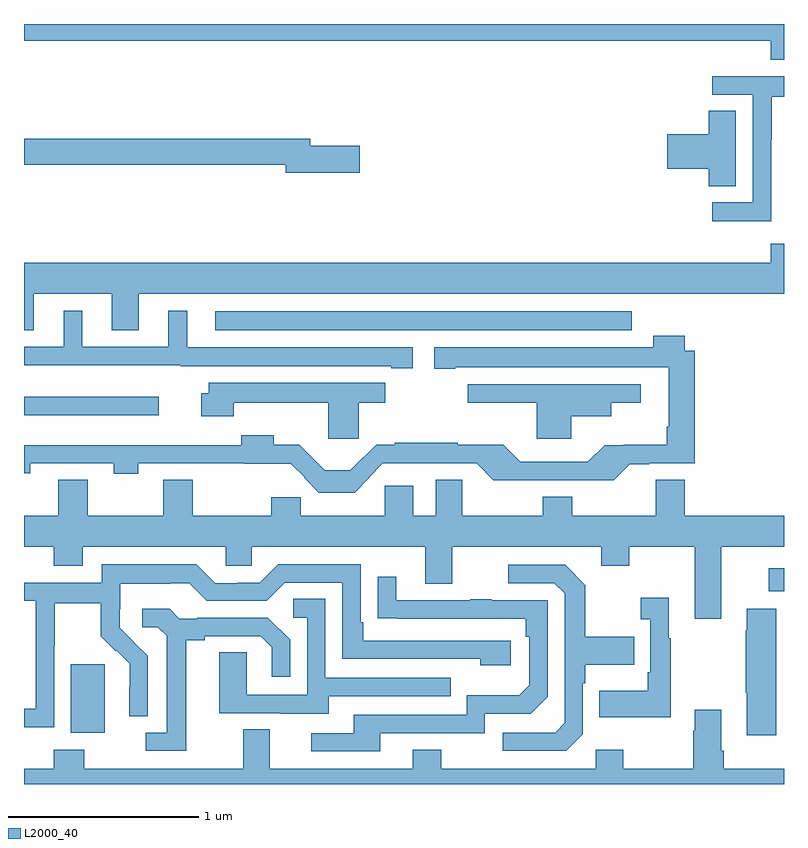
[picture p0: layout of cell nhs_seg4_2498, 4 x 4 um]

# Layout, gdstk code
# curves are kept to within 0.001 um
import gdstk
lib = gdstk.Library(unit=1e-6, precision=1e-09)
def R(c, l, rs):  # rectangles x0, y0, x1, y1
    for r in rs: c.add(gdstk.rectangle(r[:2], r[2:], *l))
def P(c, l, *ps):  # polygons
    for p in ps: c.add(gdstk.Polygon(p, *l))
L2000_40 = (2000, 40)

nhs_seg4_2498 = lib.new_cell('nhs_seg4_2498')
R(nhs_seg4_2498, L2000_40, [(241.247,801.17,241.426,801.531), (244.92,801.914,245,802.036), (241,802.841,241.708,802.939), (242.007,803.288,244.198,803.389)])
P(nhs_seg4_2498, L2000_40, [(245,804.9),(241,804.9),(241,804.812),(244.931,804.812),(244.931,804.713),(245,804.713)],
  [(244.932,804.292),(244.935,804.292),(244.935,804.516),(245,804.516),(245,804.624),(244.623,804.624),(244.623,804.528),(244.836,804.528),(244.836,803.961),(244.623,803.961),(244.623,803.863),(244.932,803.863)],
  [(244.747,804.443),(244.604,804.443),(244.604,804.32),(244.386,804.32),(244.386,804.137),(244.604,804.137),(244.604,804.046),(244.747,804.046)],
  [(242.767,804.26),(242.506,804.26),(242.506,804.296),(241,804.296),(241,804.16),(242.378,804.16),(242.378,804.118),(242.767,804.118)],
  [(241.051,803.48),(241.463,803.48),(241.463,803.287),(241.603,803.287),(241.603,803.48),(245,803.48),(245,803.743),(244.931,803.743),(244.931,803.644),(241,803.644),(241,803.287),(241.051,803.287)],
  [(243.046,803.2),(241.858,803.2),(241.858,803.392),(241.76,803.392),(241.76,803.202),(241.306,803.202),(241.306,803.392),(241.208,803.392),(241.208,803.202),(241,803.202),(241,803.105),(241.824,803.105),(241.824,803.099),(242.933,803.099),(242.933,803.089),(243.046,803.089)],
  [(242.818,802.511),(242.816,802.514),(242.889,802.587),(243.383,802.587),(243.471,802.499),(244.104,802.499),(244.187,802.582),(244.291,802.582),(244.291,802.587),(244.529,802.587),(244.529,803.179),(244.478,803.179),(244.478,803.26),(244.313,803.26),(244.313,803.2),(243.159,803.2),(243.159,803.086),(243.271,803.086),(243.271,803.093),(244.394,803.093),(244.394,802.78),(244.382,802.78),(244.382,802.686),(244.156,802.686),(244.156,802.684),(244.056,802.684),(243.968,802.596),(243.612,802.596),(243.522,802.686),(243.284,802.686),(243.284,802.696),(242.95,802.696),(242.95,802.686),(242.853,802.686),(242.718,802.551),(242.583,802.551),(242.448,802.686),(242.314,802.686),(242.314,802.735),(242.144,802.735),(242.144,802.684),(241,802.684),(241,802.536),(241.034,802.536),(241.034,802.587),(241.473,802.587),(241.473,802.532),(241.601,802.532),(241.601,802.587),(242.404,802.586),(242.477,802.514),(242.474,802.511),(242.551,802.433),(242.741,802.433)],
  [(242.762,802.907),(242.902,802.907),(242.902,803.011),(241.973,803.011),(241.973,802.957),(241.934,802.957),(241.934,802.835),(242.105,802.835),(242.105,802.907),(242.6,802.907),(242.6,802.716),(242.762,802.716)],
  [(243.881,802.835),(244.09,802.835),(244.09,802.906),(244.246,802.906),(244.246,803.004),(243.336,803.004),(243.336,802.906),(243.698,802.906),(243.698,802.716),(243.881,802.716)],
  [(244.669,802.148),(245,802.148),(245,802.312),(244.478,802.312),(244.478,802.502),(244.325,802.502),(244.325,802.312),(243.885,802.312),(243.885,802.411),(243.73,802.411),(243.73,802.312),(243.307,802.312),(243.307,802.502),(243.167,802.502),(243.167,802.312),(243.049,802.312),(243.049,802.471),(242.898,802.471),(242.898,802.312),(242.456,802.312),(242.456,802.41),(242.302,802.41),(242.302,802.312),(241.887,802.312),(241.887,802.502),(241.732,802.502),(241.732,802.312),(241.335,802.312),(241.335,802.502),(241.18,802.502),(241.18,802.312),(241,802.312),(241,802.148),(241.157,802.148),(241.157,802.049),(241.309,802.049),(241.309,802.148),(242.061,802.148),(242.061,802.05),(242.199,802.05),(242.199,802.148),(243.113,802.148),(243.113,801.954),(243.253,801.954),(243.253,802.148),(244.037,802.148),(244.037,802.049),(244.185,802.049),(244.185,802.148),(244.529,802.148),(244.529,801.771),(244.669,801.771)],
  [(241.158,801.628),(241.161,801.628),(241.161,801.852),(241.405,801.852),(241.405,801.677),(241.482,801.6),(241.485,801.603),(241.556,801.533),(241.556,801.41),(241.554,801.41),(241.554,801.256),(241.65,801.256),(241.65,801.574),(241.504,801.722),(241.504,801.819),(241.506,801.819),(241.506,801.953),(241.769,801.953),(241.769,801.957),(241.869,801.957),(241.962,801.864),(242.277,801.864),(242.373,801.96),(242.676,801.96),(242.676,801.558),(243.401,801.558),(243.401,801.524),(243.562,801.524),(243.562,801.654),(242.785,801.654),(242.785,801.751),(242.772,801.751),(242.772,802.056),(242.337,802.056),(242.241,801.96),(242.123,801.96),(242.123,801.957),(242.007,801.957),(241.907,802.057),(241.41,802.057),(241.41,801.96),(241,801.96),(241,801.864),(241.062,801.864),(241.062,801.297),(241,801.297),(241,801.199),(241.158,801.199)],
  [(243.942,801.162),(243.942,801.431),(243.955,801.431),(243.955,801.527),(244.211,801.527),(244.211,801.675),(243.955,801.675),(243.955,801.947),(243.849,802.053),(243.549,802.053),(243.549,801.957),(243.792,801.957),(243.846,801.903),(243.846,801.222),(243.795,801.171),(243.519,801.171),(243.519,801.075),(243.855,801.075)],
  [(242.875,801.168),(243.426,801.168),(243.426,801.27),(243.666,801.27),(243.756,801.36),(243.756,801.867),(243.461,801.867),(243.461,801.872),(243.349,801.872),(243.349,801.867),(242.959,801.867),(242.959,801.991),(242.863,801.991),(242.863,801.772),(243.64,801.771),(243.64,801.674),(243.66,801.674),(243.66,801.42),(243.607,801.367),(243.33,801.367),(243.33,801.264),(242.735,801.264),(242.735,801.168),(242.511,801.168),(242.511,801.072),(242.875,801.072)],
  [(244.405,801.667),(244.393,801.667),(244.393,801.88),(244.245,801.88),(244.245,801.767),(244.296,801.767),(244.296,801.487),(244.284,801.487),(244.284,801.391),(244.027,801.391),(244.027,801.251),(244.405,801.251)],
  [(242.605,801.363),(243.245,801.363),(243.245,801.459),(242.586,801.459),(242.586,801.875),(242.418,801.875),(242.418,801.774),(242.49,801.774),(242.49,801.369),(242.172,801.369),(242.172,801.593),(242.027,801.593),(242.027,801.273),(242.351,801.273),(242.351,801.269),(242.605,801.269)],
  [(244.96,801.823),(244.805,801.823),(244.805,801.71),(244.798,801.71),(244.798,801.379),(244.805,801.379),(244.805,801.156),(244.96,801.156)],
  [(241.855,801.656),(241.951,801.656),(241.951,801.678),(242.246,801.678),(242.303,801.621),(242.303,801.465),(242.4,801.465),(242.4,801.658),(242.284,801.774),(241.912,801.774),(241.912,801.771),(241.818,801.771),(241.766,801.823),(241.623,801.823),(241.623,801.726),(241.704,801.726),(241.751,801.679),(241.751,801.171),(241.641,801.171),(241.641,801.075),(241.855,801.075)],
  [(245,800.98),(244.682,800.98),(244.682,801.076),(244.669,801.076),(244.669,801.292),(244.529,801.292),(244.529,801.179),(244.522,801.179),(244.522,800.98),(244.155,800.98),(244.155,801.079),(244.008,801.079),(244.008,800.98),(243.195,800.98),(243.195,801.079),(243.047,801.079),(243.047,800.98),(242.293,800.98),(242.293,801.188),(242.153,801.188),(242.153,800.98),(241.317,800.98),(241.317,801.079),(241.157,801.079),(241.157,800.98),(241,800.98),(241,800.9),(245,800.9)])

lib.write_gds('nhs_seg4_2498.gds')
